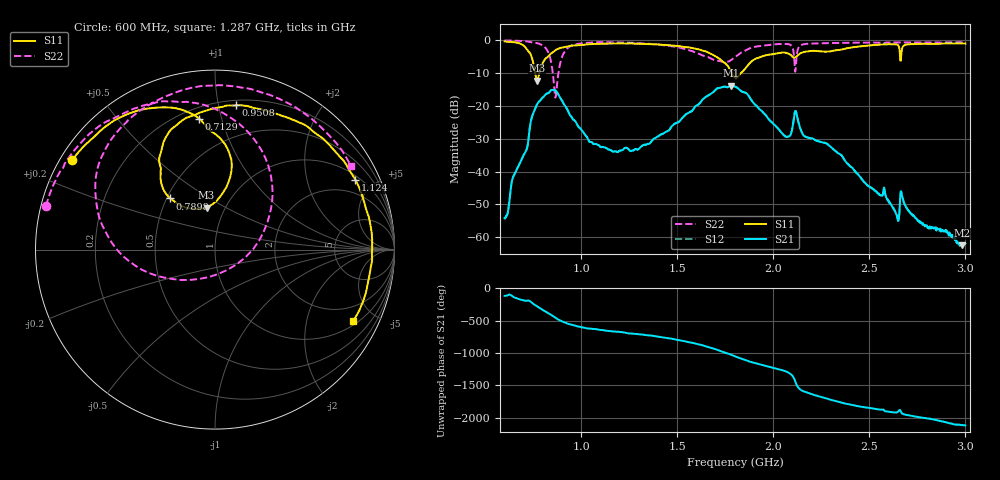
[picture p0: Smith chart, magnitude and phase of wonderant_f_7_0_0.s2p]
#  HZ  S  RI  R  50.00
! Rohde & Schwarz ZVB8 2Ports - Version 2.81 - 1145.1010k08 SN: 100113
! Date: 2016-05-17 22:37:18
! Measurements: S11 S21 S12 S22
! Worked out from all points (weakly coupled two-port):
!   1000 points, 600 MHz to 3 GHz, reference 50 ohm
!   highest |S21| = -13.92 dB at 1.78 GHz (marker M1); lowest = -62.4 dB at 2.983 GHz (marker M2)
!   lowest |S11| = -12.4 dB at 768.2 MHz (marker M3), VSWR 1.63, Z = 40.9 + j20.3 ohm
!   |S11| at or under -10 dB: 759.5 MHz to 781.6 MHz (22.09 MHz wide, 2.87 % of centre); 1.781 GHz to 1.834 GHz (52.73 MHz wide, 2.92 % of centre)
!   |S22| runs from -17.6 to -0.2 dB; largest |S21 - S12| = 0.0016
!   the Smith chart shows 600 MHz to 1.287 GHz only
!   S11 on the Smith chart (normalised r, x): 600 MHz: 0.03, +0.29; 712.9 MHz: 0.27, +0.85; 789.8 MHz: 0.52, +0.35; 950.8 MHz: 0.24, +1.13; 1.124 GHz: 1.19, +3.92; 1.287 GHz: 1.17, -3.77
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6e8  -0.7978 0.4969  -0.000838 -0.00178  -0.00091 -0.00178  -0.9428 0.2436
7.129129e8  -0.0886 0.73  -0.0206 0.00425  -0.0207 0.0038  -0.661 0.6758
7.681682e8  -0.0473 0.2343  0.0122 0.1028  0.0114 0.1031  -0.3566 0.8132
7.897898e8  -0.2492 0.2852  0.0925 0.0831  0.0915 0.0835  -0.1776 0.8225
8.402402e8  -0.3057 0.5281  0.1183 -0.1214  0.1184 -0.121  0.3183 0.3669
8.738739e8  -0.2329 0.6797  -0.0595 -0.1465  -0.0598 -0.1464  -0.1416 -0.1691
9.507508e8  0.1157 0.8036  -0.0599 0.0274  -0.0599 0.0273  -0.6229 0.5345
1.001201e9  0.3469 0.7551  -0.0203 0.0371  -0.0204 0.0369  -0.4133 0.7778
1.123724e9  0.7827 0.3888  0.00851 0.0216  0.00865 0.0217  0.1545 0.9019
1.287087e9  0.7709 -0.3983  0.0212 0.00505  0.0212 0.00504  0.7582 0.4665
1.4e9  0.3549 -0.769  0.0304 -0.0157  0.0305 -0.0157  0.8372 -0.0943
1.616216e9  -0.5812 -0.4043  -0.0934 -0.0548  -0.0932 -0.0552  0.0576 -0.5987
1.77958e9  -0.298 0.1222  0.1219 0.1602  0.1214 0.1607  -0.1439 -0.4687
1.801201e9  -0.2533 0.0614  0.1719 0.0896  0.1715 0.0901  -0.1904 -0.512
1.923724e9  -0.4528 0.2787  -0.00121 -0.0903  -0.000509 -0.0905  -0.7121 -0.3569
2.041441e9  0.0247 0.6363  -0.039 0.00201  -0.0389 0.00202  -0.8283 0.2309
2.106306e9  0.3158 0.4303  0.0374 0.0511  0.0374 0.0512  -0.3169 0.5142
2.2e9  0.6665 0.127  -0.0305 0.0093  -0.0305 0.00916  -0.5493 0.6799
2.418619e9  0.203 -0.7433  0.0105 -0.00189  0.0105 -0.00183  0.284 0.8546
2.601201e9  -0.5858 -0.6217  -0.00112 -0.00333  -0.00115 -0.00333  0.7969 0.4328
2.983183e9  -0.6911 0.5384  0.000522 0.000547  0.00054 0.000559  0.5767 -0.7098
3e9  -0.6554 0.5789  0.000632 0.000508  0.000613 0.000514  0.5426 -0.7362
